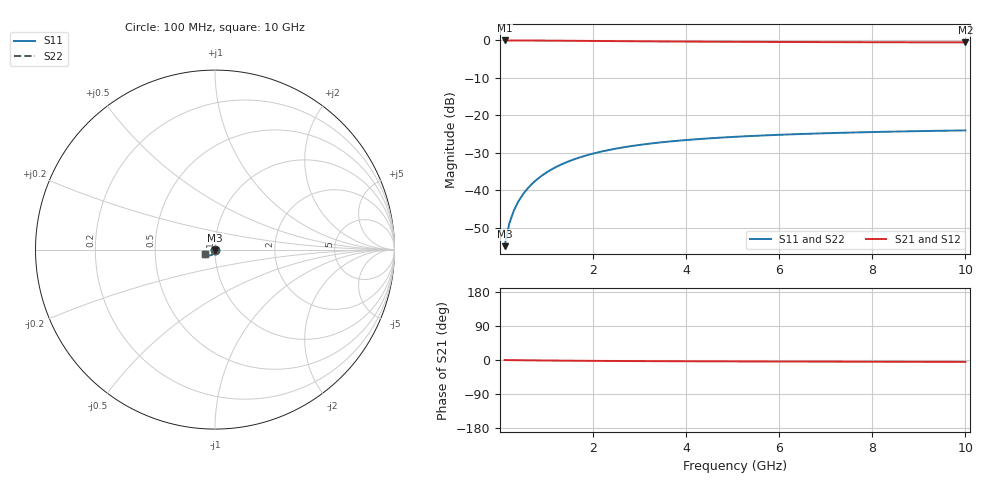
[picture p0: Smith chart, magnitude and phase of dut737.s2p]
! Touchstone file exported from HFSS 2024.1.0
!  File:  C:/UserFiles/LocalFiles/RDL_TSV_Batchsim/temp_TSV1_737_1779869866.aedt
!  Generated:  04:22:45 PM May 27, 2026
!  Design:  TSV1
!  Project:  temp_TSV1_737_1779869866
!  Setup:  Setup1
!  Solution:  Sweep
! Variables:
!  dtsv = 14.86um
!  hbump = 3um
!  htsv = 74.79um
!  lrdl = 252.1521522um
!  p = 40
!  p1 = 47.79um
!  t = 500um
!  trdl = 3um
!  wrdl = 24.89489489um
# GHz S MA R 50.000000
! Terminal data exported
! Port[1] = TSV22_T1
! Port[2] = TSV22_T2
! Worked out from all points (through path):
!   100 points, 100 MHz to 10 GHz, reference 50 ohm
!   highest |S21| = 0.00 dB at 100 MHz (marker M1); lowest = -0.5 dB at 10 GHz (marker M2)
!   lowest |S11| = -54.9 dB at 100 MHz (marker M3), VSWR 1.00, Z = 50 - j0.18 ohm
!   |S11| at or under -10 dB: start of sweep to end of sweep
!   |S22| runs from -54.9 to -24.0 dB; largest |S21 - S12| = 3.4e-15
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0.1  0.001798 -89.2  0.9999 -0.1  0.9999 -0.1  0.001798 -89.2
! Gamma 0 0 0 0
! Port Impedance 50 0 50 0
0.2  0.003607 -92.2  0.9997 -0.3  0.9997 -0.3  0.003607 -92.2
0.3  0.005406 -94.3  0.9994 -0.4  0.9994 -0.4  0.005406 -94.3
0.4  0.007188 -96.1  0.9991 -0.6  0.9991 -0.6  0.007188 -96.1
0.5  0.00895 -97.9  0.9986 -0.7  0.9986 -0.7  0.00895 -97.9
0.6  0.01069 -99.5  0.998 -0.8  0.998 -0.8  0.01069 -99.5
0.7  0.01239 -101.2  0.9974 -1.0  0.9974 -1.0  0.01239 -101.2
0.8  0.01407 -102.8  0.9967 -1.1  0.9967 -1.1  0.01407 -102.8
0.9  0.01571 -104.4  0.9959 -1.2  0.9959 -1.2  0.01571 -104.4
1.1  0.01887 -107.4  0.9941 -1.4  0.9941 -1.4  0.01887 -107.4
1.4  0.02329 -111.7  0.9912 -1.8  0.9912 -1.8  0.02329 -111.7
1.6  0.02601 -114.4  0.9891 -1.9  0.9891 -1.9  0.02601 -114.4
1.8  0.02855 -116.9  0.9869 -2.1  0.9869 -2.1  0.02855 -116.9
2.1  0.03203 -120.4  0.9837 -2.3  0.9837 -2.3  0.03203 -120.4
2.5  0.03609 -124.6  0.9796 -2.6  0.9796 -2.6  0.03609 -124.6
2.9  0.03957 -128.3  0.9757 -2.8  0.9757 -2.8  0.03957 -128.3
3.4  0.04325 -132.3  0.9712 -3.1  0.9712 -3.1  0.04325 -132.3
4.2  0.04794 -137.5  0.965 -3.4  0.965 -3.4  0.04794 -137.5
5.1  0.05196 -142.2  0.9594 -3.7  0.9594 -3.7  0.05196 -142.2
6.7  0.05705 -148.3  0.9518 -4.2  0.9518 -4.2  0.05705 -148.3
8.4  0.06067 -153.0  0.9463 -4.6  0.9463 -4.6  0.06067 -153.0
10  0.06306 -156.4  0.9425 -5.1  0.9425 -5.1  0.06306 -156.4
